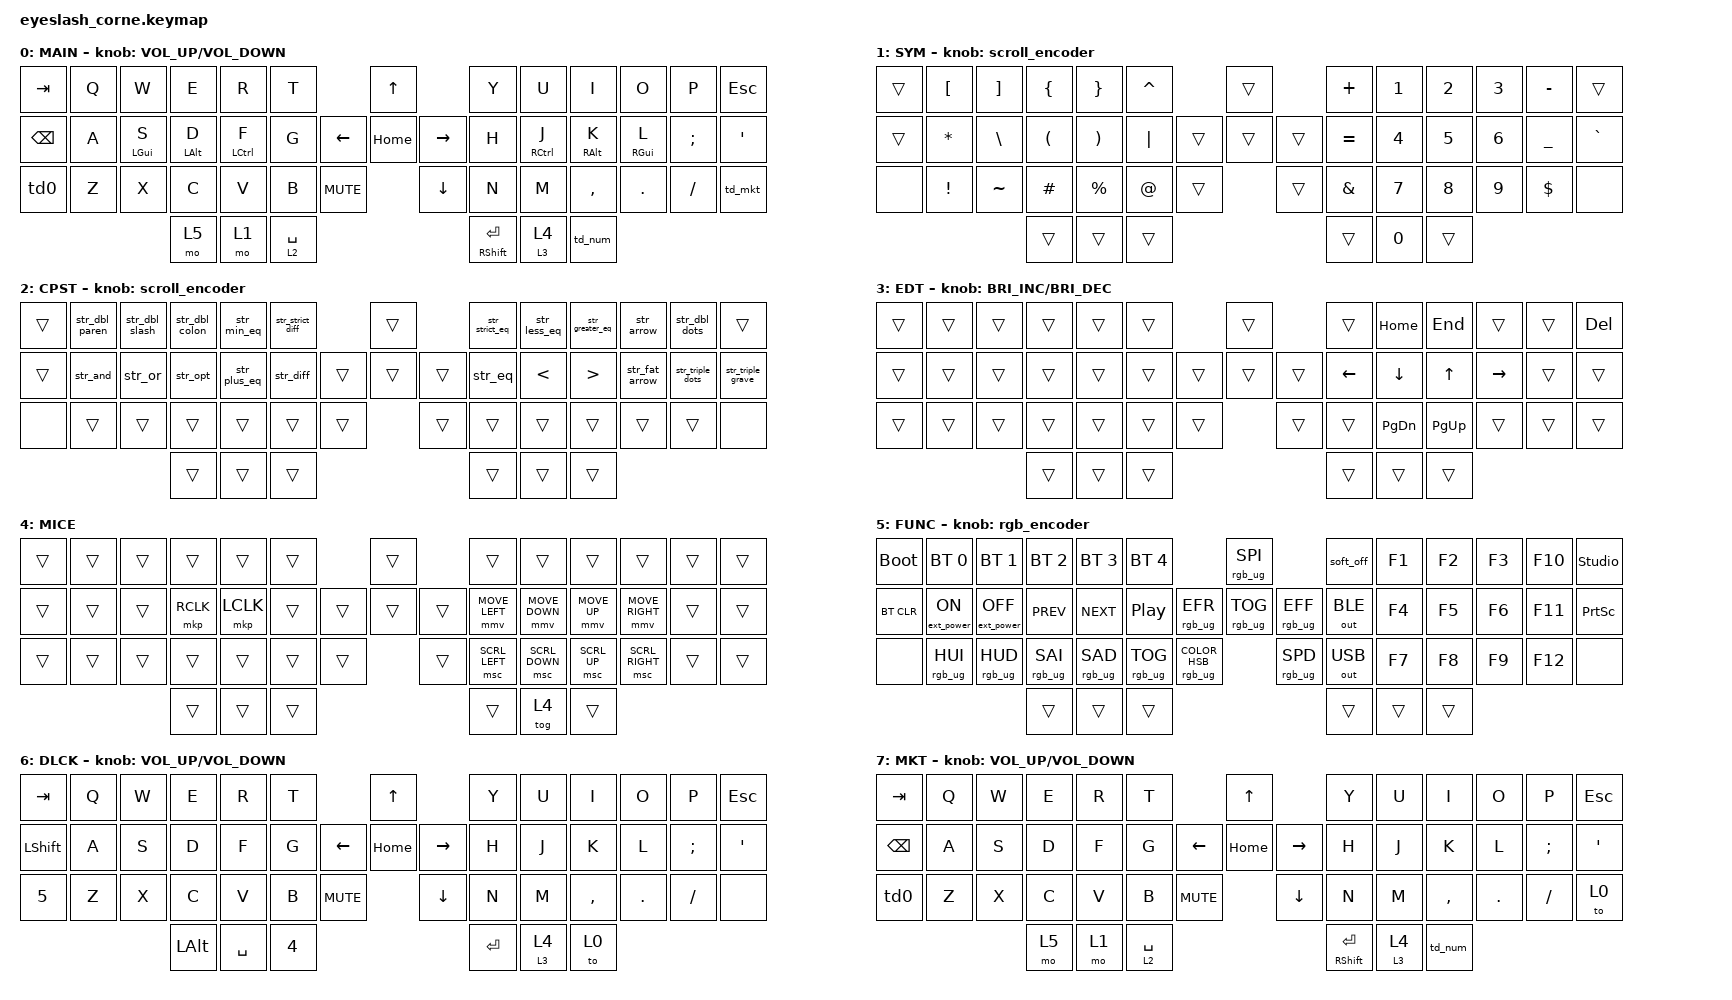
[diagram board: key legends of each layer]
#define ZMK_POINTING_DEFAULT_MOVE_VAL 2500  // 600
#define ZMK_POINTING_DEFAULT_SCRL_VAL 25   // 10

#include <input/processors.dtsi>
#include <zephyr/dt-bindings/input/input-event-codes.h>
#include <behaviors.dtsi>
#include <dt-bindings/zmk/bt.h>
#include <dt-bindings/zmk/ext_power.h>
#include <dt-bindings/zmk/keys.h>
#include <dt-bindings/zmk/outputs.h>
#include <dt-bindings/zmk/pointing.h>
#include <dt-bindings/zmk/rgb.h>

&mmv_input_listener { input-processors = <&zip_xy_scaler 2 1>; };

&msc_input_listener { input-processors = <&zip_scroll_scaler 2 1>; };

&msc {
    acceleration-exponent = <1>;      // 0
    time-to-max-speed-ms = <100>;       // 300
    delay-ms = <0>;                   // 0
};

&mmv {
    time-to-max-speed-ms = <500>;
    acceleration-exponent = <1>;
    trigger-period-ms = <16>;
};

&soft_off { hold-time-ms = <2000>; };

/ {
    behaviors {
        td0: td0 {
            compatible = "zmk,behavior-tap-dance";
            display-name = "Shift/Caps Lock Tap Dance";
            #binding-cells = <0>;
            bindings = <&kp LEFT_SHIFT>, <&kp CAPS>;
        };

        td_num: td_num {
            compatible = "zmk,behavior-tap-dance";
            display-name = "Insert/DeadlockLayer";
            #binding-cells = <0>;
            bindings = <&kp INS>, <&to 6>;
        };

        tm: tm {
            compatible = "zmk,behavior-hold-tap";
            label = "toggle_momentary";
            bindings = <&mo>, <&tog>;

            #binding-cells = <2>;
            tapping-term-ms = <200>;
            quick-tap-ms = <150>;
        };

        ht: ht {
            compatible = "zmk,behavior-hold-tap";
            label = "hold_tap";
            bindings = <&kp>, <&kp>;

            #binding-cells = <2>;
            tapping-term-ms = <200>;
            flavor = "tap-preferred";
            quick-tap-ms = <150>;
        };

        td_mkt: td_mkt {
            compatible = "zmk,behavior-tap-dance";
            label = "TD_MKT";
            #binding-cells = <0>;
            bindings = <&kp PRINTSCREEN>, <&to 7>;
        };
    };

    rgb_encoder: rgb_encoder {
        compatible = "zmk,behavior-sensor-rotate";
        #sensor-binding-cells = <0>;
        bindings = <&rgb_ug RGB_BRI>, <&rgb_ug RGB_BRD>;
    };

    scroll_encoder: scroll_encoder {
        compatible = "zmk,behavior-sensor-rotate";
        #sensor-binding-cells = <0>;
        bindings = <&msc SCRL_DOWN>, <&msc SCRL_UP>;

        tap-ms = <100>;
    };

    combos {
        compatible = "zmk,combos";

        softoff {
            bindings = <&soft_off>;
            key-positions = <1 15 29>;
        };
    };

    macros {
        str_and: str_and {
            compatible = "zmk,behavior-macro";
            #binding-cells = <0>;
            bindings = <&kp AMPS &kp AMPS>;
            label = "STR_AND";
        };

        str_or: str_or {
            compatible = "zmk,behavior-macro";
            #binding-cells = <0>;
            bindings = <&kp PIPE &kp PIPE>;
            label = "STR_OR";
        };

        str_dbl_slash: str_dbl_slash {
            compatible = "zmk,behavior-macro";
            #binding-cells = <0>;
            bindings = <&kp FSLH &kp FSLH>;
            label = "STR_DBL_SLASH";
        };

        str_dbl_colon: str_dbl_colon {
            compatible = "zmk,behavior-macro";
            #binding-cells = <0>;
            bindings = <&kp COLON &kp COLON>;
            label = "STR_DBL_COLON";
        };

        str_plus_eq: str_plus_eq {
            compatible = "zmk,behavior-macro";
            #binding-cells = <0>;
            bindings = <&kp PLUS &kp EQUAL>;
            label = "STR_PLUS_EQ";
        };

        str_min_eq: str_min_eq {
            compatible = "zmk,behavior-macro";
            #binding-cells = <0>;
            bindings = <&kp MINUS &kp EQUAL>;
            label = "STR_MIN_EQ";
        };

        str_diff: str_diff {
            compatible = "zmk,behavior-macro";
            #binding-cells = <0>;
            bindings = <&kp EXCL &kp EQUAL>;
            label = "STR_DIFF";
        };

        str_strict_diff: str_strict_diff {
            compatible = "zmk,behavior-macro";
            #binding-cells = <0>;
            bindings = <&kp EXCL &kp EQUAL &kp EQUAL>;
            label = "STR_STRICT_DIFF";
        };

        str_opt: str_opt {
            compatible = "zmk,behavior-macro";
            #binding-cells = <0>;
            bindings = <&kp QMARK &kp QMARK>;
            label = "STR_OPT";
        };

        str_dbl_paren: str_dbl_paren {
            compatible = "zmk,behavior-macro";
            #binding-cells = <0>;
            bindings = <&kp LPAR &kp RPAR>;
            label = "STR_DBL_PAREN";
        };

        str_eq: str_eq {
            compatible = "zmk,behavior-macro";
            #binding-cells = <0>;
            bindings = <&kp EQUAL &kp EQUAL>;
            label = "STR_EQ";
        };

        str_strict_eq: str_strict_eq {
            compatible = "zmk,behavior-macro";
            #binding-cells = <0>;
            bindings = <&kp EQUAL &kp EQUAL &kp EQUAL>;
            label = "STR_STRICT_EQ";
        };

        str_less_eq: str_less_eq {
            compatible = "zmk,behavior-macro";
            #binding-cells = <0>;
            bindings = <&kp LT &kp EQUAL>;
            label = "STR_LESS_EQ";
        };

        str_greater_eq: str_greater_eq {
            compatible = "zmk,behavior-macro";
            #binding-cells = <0>;
            bindings = <&kp GT &kp EQUAL>;
            label = "STR_GREATER_EQ";
        };

        str_arrow: str_arrow {
            compatible = "zmk,behavior-macro";
            #binding-cells = <0>;
            bindings = <&kp MINUS &kp GT>;
            label = "STR_ARROW";
        };

        str_fat_arrow: str_fat_arrow {
            compatible = "zmk,behavior-macro";
            #binding-cells = <0>;
            bindings = <&kp EQUAL &kp GT>;
            label = "STR_FAT_ARROW";
        };

        str_triple_dots: str_triple_dots {
            compatible = "zmk,behavior-macro";
            #binding-cells = <0>;
            bindings = <&kp DOT &kp DOT &kp DOT>;
            label = "STR_TRIPLE_DOTS";
        };

        str_triple_grave: str_triple_grave {
            compatible = "zmk,behavior-macro";
            #binding-cells = <0>;
            bindings = <&kp GRAVE &kp GRAVE &kp GRAVE>;
            label = "STR_TRIPLE_GRAVE";
        };

        str_dbl_dots: str_dbl_dots {
            compatible = "zmk,behavior-macro";
            #binding-cells = <0>;
            bindings = <&kp DOT &kp DOT>;
            label = "STR_DBL_DOTS";
        };
    };

    keymap {
        compatible = "zmk,keymap";

        default_layer {
            display-name = "MAIN";
            bindings = <
&kp TAB   &kp Q  &kp W       &kp E       &kp R        &kp T                                &kp UP               &kp Y                  &kp U        &kp I       &kp O       &kp P     &kp ESC
&kp BSPC  &kp A  &ht LGUI S  &ht LALT D  &ht LCTRL F  &kp G                      &kp LEFT  &kp HOME  &kp RIGHT  &kp H                  &ht RCTRL J  &ht RALT K  &ht RGUI L  &kp SEMI  &kp SQT
&td0      &kp Z  &kp X       &kp C       &kp V        &kp B        &kp K_MUTE              &kp DOWN             &kp N                  &kp M        &kp COMMA   &kp DOT     &kp FSLH  &td_mkt
                             &mo 5       &mo 1        &lt 2 SPACE                                               &ht RIGHT_SHIFT ENTER  &tm 3 4      &td_num
            >;

            sensor-bindings = <&inc_dec_kp C_VOLUME_UP C_VOLUME_DOWN>;
        };

        symbol_layer {
            display-name = "SYM";
            bindings = <
&trans  &kp LEFT_BRACKET  &kp RBKT       &kp LBRC              &kp RBRC               &kp CARET                      &trans          &kp PLUS   &kp NUMBER_1  &kp N2  &kp N3  &kp MINUS       &trans
&trans  &kp ASTERISK      &kp BACKSLASH  &kp LEFT_PARENTHESIS  &kp RIGHT_PARENTHESIS  &kp PIPE               &trans  &trans  &trans  &kp EQUAL  &kp N4        &kp N5  &kp N6  &kp UNDERSCORE  &kp GRAVE
&none   &kp EXCLAMATION   &kp TILDE      &kp HASH              &kp PERCENT            &kp AT_SIGN  &trans            &trans          &kp AMPS   &kp N7        &kp N8  &kp N9  &kp DOLLAR      &none
                                         &trans                &trans                 &trans                                         &trans     &kp N0        &trans
            >;

            sensor-bindings = <&scroll_encoder>;
        };

        composite_layer {
            display-name = "CPST";
            bindings = <
&trans  &str_dbl_paren  &str_dbl_slash  &str_dbl_colon  &str_min_eq   &str_strict_diff                    &trans          &str_strict_eq  &str_less_eq   &str_greater_eq   &str_arrow      &str_dbl_dots     &trans
&trans  &str_and        &str_or         &str_opt        &str_plus_eq  &str_diff                   &trans  &trans  &trans  &str_eq         &kp LESS_THAN  &kp GREATER_THAN  &str_fat_arrow  &str_triple_dots  &str_triple_grave
&none   &trans          &trans          &trans          &trans        &trans            &trans            &trans          &trans          &trans         &trans            &trans          &trans            &none
                                        &trans          &trans        &trans                                              &trans          &trans         &trans
            >;

            sensor-bindings = <&scroll_encoder>;
        };

        edit_layer {
            bindings = <
&trans  &trans  &trans  &trans  &trans  &trans                    &trans          &trans          &kp HOME       &kp END       &trans     &trans  &kp DELETE
&trans  &trans  &trans  &trans  &trans  &trans            &trans  &trans  &trans  &kp LEFT_ARROW  &kp DOWN       &kp UP_ARROW  &kp RIGHT  &trans  &trans
&trans  &trans  &trans  &trans  &trans  &trans  &trans            &trans          &trans          &kp PAGE_DOWN  &kp PG_UP     &trans     &trans  &trans
                        &trans  &trans  &trans                                    &trans          &trans         &trans
            >;

            label = "EDT";
            sensor-bindings = <&inc_dec_kp C_BRIGHTNESS_INC C_BRIGHTNESS_DEC>;
        };

        mouse_layer {
            bindings = <
&trans  &trans  &trans  &trans     &trans     &trans                    &trans          &trans          &trans          &trans        &trans           &trans  &trans
&trans  &trans  &trans  &mkp RCLK  &mkp LCLK  &trans            &trans  &trans  &trans  &mmv MOVE_LEFT  &mmv MOVE_DOWN  &mmv MOVE_UP  &mmv MOVE_RIGHT  &trans  &trans
&trans  &trans  &trans  &trans     &trans     &trans  &trans            &trans          &msc SCRL_LEFT  &msc SCRL_DOWN  &msc SCRL_UP  &msc SCRL_RIGHT  &trans  &trans
                        &trans     &trans     &trans                                    &trans          &tog 4          &trans
            >;

            label = "MICE";
        };

        func_layer {
            bindings = <
&bootloader  &bt BT_SEL 0      &bt BT_SEL 1       &bt BT_SEL 2     &bt BT_SEL 3     &bt BT_SEL 4                                                       &rgb_ug RGB_SPI                   &soft_off     &kp F1  &kp F2  &kp F3  &kp F10  &studio_unlock
&bt BT_CLR   &ext_power EP_ON  &ext_power EP_OFF  &kp C_PREV       &kp C_NEXT       &kp C_PP                                          &rgb_ug RGB_EFR  &rgb_ug RGB_TOG  &rgb_ug RGB_EFF  &out OUT_BLE  &kp F4  &kp F5  &kp F6  &kp F11  &kp PRINTSCREEN
&none        &rgb_ug RGB_HUI   &rgb_ug RGB_HUD    &rgb_ug RGB_SAI  &rgb_ug RGB_SAD  &rgb_ug RGB_TOG  &rgb_ug RGB_COLOR_HSB(0,0,98)                     &rgb_ug RGB_SPD                   &out OUT_USB  &kp F7  &kp F8  &kp F9  &kp F12  &none
                                                  &trans           &trans           &trans                                                                                               &trans        &trans  &trans
            >;

            label = "FUNC";
            sensor-bindings = <&rgb_encoder>;
        };

        layer_6 {
            display-name = "DLCK";
            bindings = <
&kp TAB         &kp Q  &kp W  &kp E         &kp R      &kp T                                 &kp UP               &kp Y      &kp U    &kp I      &kp O    &kp P     &kp ESC
&kp LEFT_SHIFT  &kp A  &kp S  &kp D         &kp F      &kp G                       &kp LEFT  &kp HOME  &kp RIGHT  &kp H      &kp J    &kp K      &kp L    &kp SEMI  &kp SQT
&kp N5          &kp Z  &kp X  &kp C         &kp V      &kp B         &kp K_MUTE              &kp DOWN             &kp N      &kp M    &kp COMMA  &kp DOT  &kp FSLH  &none
                              &kp LEFT_ALT  &kp SPACE  &kp NUMBER_4                                               &kp ENTER  &tm 3 4  &to 0
            >;

            sensor-bindings = <&inc_dec_kp C_VOLUME_UP C_VOLUME_DOWN>;
        };

        layer_7 {
            display-name = "MKT";
            bindings = <
&kp TAB   &kp Q  &kp W  &kp E  &kp R  &kp T                                &kp UP               &kp Y                  &kp U    &kp I      &kp O    &kp P     &kp ESC
&kp BSPC  &kp A  &kp S  &kp D  &kp F  &kp G                      &kp LEFT  &kp HOME  &kp RIGHT  &kp H                  &kp J    &kp K      &kp L    &kp SEMI  &kp SQT
&td0      &kp Z  &kp X  &kp C  &kp V  &kp B        &kp K_MUTE              &kp DOWN             &kp N                  &kp M    &kp COMMA  &kp DOT  &kp FSLH  &to 0
                        &mo 5  &mo 1  &lt 2 SPACE                                               &ht RIGHT_SHIFT ENTER  &tm 3 4  &td_num
            >;

            sensor-bindings = <&inc_dec_kp C_VOLUME_UP C_VOLUME_DOWN>;
        };
    };
};
